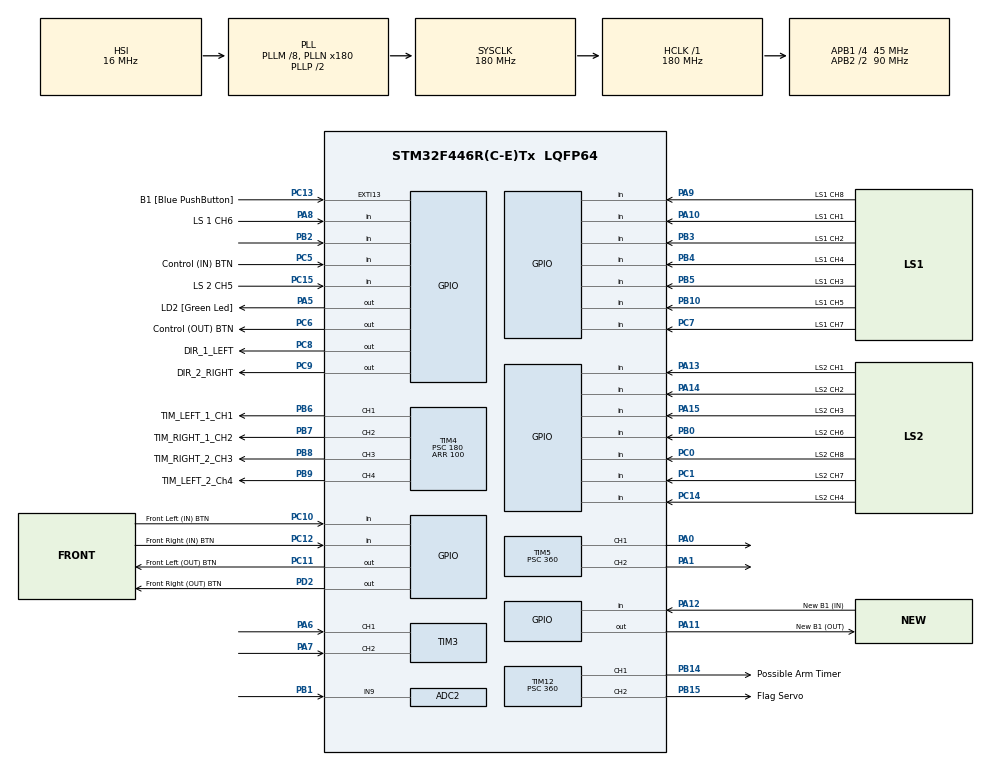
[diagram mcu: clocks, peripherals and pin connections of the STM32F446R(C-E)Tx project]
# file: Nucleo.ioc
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ADC2.Channel-12\#ChannelRegularConversion=ADC_CHANNEL_9
ADC2.NbrOfConversionFlag=1
ADC2.Rank-12\#ChannelRegularConversion=1
ADC2.SamplingTime-12\#ChannelRegularConversion=ADC_SAMPLETIME_3CYCLES
Mcu.Family=STM32F4
Mcu.Name=STM32F446R(C-E)Tx
Mcu.Package=LQFP64
NVIC.EXTI15_10_IRQn=true\:0\:0\:false\:false\:true
NVIC.PriorityGroup=NVIC_PRIORITYGROUP_0
PA0-WKUP.Signal=S_TIM5_CH1
PA1.Signal=S_TIM5_CH2
PA10.GPIO_Label=LS1 CH1
PA10.Signal=GPIO_Input
PA11.GPIO_Label=New B1 (OUT)
PA11.Signal=GPIO_Output
PA12.GPIO_Label=New B1 (IN)
PA12.GPIO_PuPd=GPIO_PULLUP
PA12.Signal=GPIO_Input
PA13.GPIO_Label=LS2 CH1
PA13.Signal=GPIO_Input
PA14.GPIO_Label=LS2 CH2
PA14.Signal=GPIO_Input
PA15.GPIO_Label=LS2 CH3
PA15.Signal=GPIO_Input
PA5.GPIO_Label=LD2 [Green Led]
PA5.Signal=GPIO_Output
PA6.Signal=S_TIM3_CH1
PA7.Signal=S_TIM3_CH2
PA8.GPIO_Label=LS 1 CH6
PA8.Signal=GPIO_Input
PA9.GPIO_Label=LS1 CH8
PA9.Signal=GPIO_Input
PB0.GPIO_Label=LS2 CH6
PB0.Signal=GPIO_Input
PB1.Signal=ADCx_IN9
PB10.GPIO_Label=LS1 CH5
PB10.Signal=GPIO_Input
PB14.GPIO_Label=Possible Arm Timer
PB14.Signal=S_TIM12_CH1
PB15.GPIO_Label=Flag Servo
PB15.Signal=S_TIM12_CH2
PB2.GPIO_PuPd=GPIO_PULLUP
PB2.Signal=GPIO_Input
PB3.GPIO_Label=LS1 CH2
PB3.Signal=GPIO_Input
PB4.GPIO_Label=LS1 CH4
PB4.Signal=GPIO_Input
PB5.GPIO_Label=LS1 CH3
PB5.Signal=GPIO_Input
PB6.GPIO_Label=TIM_LEFT_1_CH1
PB6.Signal=S_TIM4_CH1
PB7.GPIO_Label=TIM_RIGHT_1_CH2
PB7.Signal=S_TIM4_CH2
PB8.GPIO_Label=TIM_RIGHT_2_CH3
PB8.Signal=S_TIM4_CH3
PB9.GPIO_Label=TIM_LEFT_2_Ch4
PB9.Signal=S_TIM4_CH4
PC0.GPIO_Label=LS2 CH8
PC0.Signal=GPIO_Input
PC1.GPIO_Label=LS2 CH7
PC1.Signal=GPIO_Input
PC10.GPIO_Label=Front Left (IN) BTN
PC10.GPIO_PuPd=GPIO_PULLUP
PC10.Signal=GPIO_Input
PC11.GPIO_Label=Front Left (OUT) BTN
PC11.GPIO_PuPd=GPIO_NOPULL
PC11.PinState=GPIO_PIN_RESET
PC11.Signal=GPIO_Output
PC12.GPIO_Label=Front Right (IN) BTN
PC12.GPIO_PuPd=GPIO_PULLUP
PC12.Signal=GPIO_Input
PC13.GPIO_Label=B1 [Blue PushButton]
PC13.GPIO_ModeDefaultEXTI=GPIO_MODE_IT_FALLING
PC13.Signal=GPXTI13
PC14-OSC32_IN.GPIO_Label=LS2 CH4
PC14-OSC32_IN.Signal=GPIO_Input
PC15-OSC32_OUT.GPIO_Label=LS 2 CH5
PC15-OSC32_OUT.Signal=GPIO_Input
PC5.GPIO_Label=Control (IN) BTN
PC5.GPIO_PuPd=GPIO_PULLUP
PC5.Signal=GPIO_Input
PC6.GPIO_Label=Control (OUT) BTN
PC6.Signal=GPIO_Output
PC7.GPIO_Label=LS1 CH7
PC7.Signal=GPIO_Input
PC8.GPIO_Label=DIR_1_LEFT
PC8.Signal=GPIO_Output
PC9.GPIO_Label=DIR_2_RIGHT
PC9.Signal=GPIO_Output
PD2.GPIO_Label=Front Right (OUT) BTN
PD2.Signal=GPIO_Output
PH1-OSC_OUT.Mode=HSE-External-Clock-Source
PH1-OSC_OUT.Signal=RCC_OSC_OUT
ProjectManager.HeapSize=0x200
ProjectManager.StackSize=0x400
ProjectManager.TargetToolchain=SW4STM32
RCC.AHBFreq_Value=180000000
RCC.APB1CLKDivider=RCC_HCLK_DIV4
RCC.APB1Freq_Value=45000000
RCC.APB1TimFreq_Value=90000000
RCC.APB2CLKDivider=RCC_HCLK_DIV2
RCC.APB2Freq_Value=90000000
RCC.APB2TimFreq_Value=180000000
RCC.CortexFreq_Value=180000000
RCC.FLatency-AdvancedSettings=FLASH_LATENCY_5
RCC.HCLKFreq_Value=180000000
RCC.HSE_VALUE=8000000
RCC.HSI_VALUE=16000000
RCC.LSE_VALUE=32768
RCC.PLLM=8
RCC.PLLN=180
RCC.SYSCLKFreq_VALUE=180000000
RCC.SYSCLKSource=RCC_SYSCLKSOURCE_PLLCLK
RCC.USBFreq_Value=180000000
RCC.VCOOutputFreq_Value=360000000
SH.ADCx_IN9.0=ADC2_IN9,IN9
SH.S_TIM12_CH1.0=TIM12_CH1,PWM Generation1 CH1
SH.S_TIM12_CH2.0=TIM12_CH2,PWM Generation2 CH2
SH.S_TIM3_CH1.0=TIM3_CH1,Encoder_Interface
SH.S_TIM3_CH2.0=TIM3_CH2,Encoder_Interface
SH.S_TIM4_CH1.0=TIM4_CH1,PWM Generation1 CH1
SH.S_TIM4_CH2.0=TIM4_CH2,PWM Generation2 CH2
SH.S_TIM4_CH3.0=TIM4_CH3,PWM Generation3 CH3
SH.S_TIM4_CH4.0=TIM4_CH4,PWM Generation4 CH4
SH.S_TIM5_CH1.0=TIM5_CH1,PWM Generation1 CH1
SH.S_TIM5_CH2.0=TIM5_CH2,PWM Generation2 CH2
TIM12.Channel-PWM\ Generation2\ CH2=TIM_CHANNEL_2
TIM12.Period=5000
TIM12.Prescaler=360
TIM12.Pulse-PWM\ Generation1\ CH1=300
TIM4.Channel-PWM\ Generation2\ CH2=TIM_CHANNEL_2
TIM4.Channel-PWM\ Generation3\ CH3=TIM_CHANNEL_3
TIM4.Channel-PWM\ Generation4\ CH4=TIM_CHANNEL_4
TIM4.Period=100
TIM4.Prescaler=180
TIM4.Pulse-PWM\ Generation1\ CH1=50
TIM4.Pulse-PWM\ Generation2\ CH2=50
TIM4.Pulse-PWM\ Generation3\ CH3=50
TIM4.Pulse-PWM\ Generation4\ CH4=50
TIM5.Channel-PWM\ Generation2\ CH2=TIM_CHANNEL_2
TIM5.Period=5000
TIM5.Prescaler=360
TIM5.Pulse-PWM\ Generation1\ CH1=300
TIM5.Pulse-PWM\ Generation2\ CH2=300
board=NUCLEO-F446RE

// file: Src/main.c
/**
  ******************************************************************************
  * File Name          : main.c
  * Description        : Main program body
  ******************************************************************************
  *
  * COPYRIGHT(c) 2017 STMicroelectronics
  *
  * Redistribution and use in source and binary forms, with or without modification,
  * are permitted provided that the following conditions are met:
  *   1. Redistributions of source code must retain the above copyright notice,
  *      this list of conditions and the following disclaimer.
  *   2. Redistributions in binary form must reproduce the above copyright notice,
  *      this list of conditions and the following disclaimer in the documentation
  *      and/or other materials provided with the distribution.
  *   3. Neither the name of STMicroelectronics nor the names of its contributors
  *      may be used to endorse or promote products derived from this software
  *      without specific prior written permission.
  *
  * THIS SOFTWARE IS PROVIDED BY THE COPYRIGHT HOLDERS AND CONTRIBUTORS "AS IS"
  * AND ANY EXPRESS OR IMPLIED WARRANTIES, INCLUDING, BUT NOT LIMITED TO, THE
  * IMPLIED WARRANTIES OF MERCHANTABILITY AND FITNESS FOR A PARTICULAR PURPOSE ARE
  * DISCLAIMED. IN NO EVENT SHALL THE COPYRIGHT HOLDER OR CONTRIBUTORS BE LIABLE
  * FOR ANY DIRECT, INDIRECT, INCIDENTAL, SPECIAL, EXEMPLARY, OR CONSEQUENTIAL
  * DAMAGES (INCLUDING, BUT NOT LIMITED TO, PROCUREMENT OF SUBSTITUTE GOODS OR
  * SERVICES; LOSS OF USE, DATA, OR PROFITS; OR BUSINESS INTERRUPTION) HOWEVER
  * CAUSED AND ON ANY THEORY OF LIABILITY, WHETHER IN CONTRACT, STRICT LIABILITY,
  * OR TORT (INCLUDING NEGLIGENCE OR OTHERWISE) ARISING IN ANY WAY OUT OF THE USE
  * OF THIS SOFTWARE, EVEN IF ADVISED OF THE POSSIBILITY OF SUCH DAMAGE.
  *
  ******************************************************************************
  */
#include "main.h"
#include "stm32f4xx_hal.h"

/* USER CODE BEGIN Includes */
#include "functions.h"
#include "config.h"
#include <stdlib.h>
typedef int lineState;
enum lineState { hardL, shallowL, cont, shallowR, hardR };

typedef int strategy;
enum strategy { default_strategy, bump_strategy, test1, test2, test3, test4, bump, forwards, backwards, test5, emergency};

/* USER CODE END Includes */

ADC_HandleTypeDef hadc2;

TIM_HandleTypeDef htim3;
TIM_HandleTypeDef htim4;
TIM_HandleTypeDef htim5;
TIM_HandleTypeDef htim12;

/* USER CODE BEGIN PV */
/* Private variables ---------------------------------------------------------*/
uint16_t oldDutyCycle;
uint16_t newDutyCycle;
volatile TIM_HandleTypeDef * motorTimer = &htim4;
volatile TIM_HandleTypeDef * servoTimer = &htim5;
volatile TIM_HandleTypeDef * servoTimer2 = &htim12;
uint16_t LINE_SENSE_F = 1;
lineState lState = cont;
uint8_t servoAngle = 0;
uint8_t servoLeftAngle = 0;
uint8_t servoRightAngle = 0;
uint8_t testServoAngle= 0;

uint8_t DEBUG_MODE = 1;
uint8_t STRATEGY = emergency;
//uint8_t STRATEGY = test5;
uint16_t increment = 0;
uint16_t timer = 0;
uint16_t timer2 = 0;
int lBias = -15;
int rBias = -15;
int roundCount = 0;

/* USER CODE END PV */

void SystemClock_Config(void);
void Error_Handler(void);
static void MX_GPIO_Init(void);
static void MX_TIM4_Init(void);
static void MX_TIM5_Init(void);
static void MX_ADC2_Init(void);
static void MX_TIM3_Init(void);
static void MX_TIM12_Init(void);

void HAL_TIM_MspPostInit(TIM_HandleTypeDef *htim);

/* USER CODE BEGIN PFP */
/* Private function prototypes -----------------------------------------------*/

/* USER CODE END PFP */

/* USER CODE BEGIN 0 */
//MX_ADC_1_Init();

/* USER CODE END 0 */

int main(void)
{

  /* MCU Configuration----------------------------------------------------------*/

  /* Reset of all peripherals, Initializes the Flash interface and the Systick. */
  HAL_Init();

  /* Configure the system clock */
  SystemClock_Config();

  /* Initialize all configured peripherals */
  MX_GPIO_Init();
  MX_TIM4_Init();
  MX_TIM5_Init();
  MX_ADC2_Init();
  MX_TIM3_Init();
  MX_TIM12_Init();

  /* USER CODE BEGIN 2 */
  struct lineData *lineData = checked_malloc(sizeof(struct lineData));
  initLineSensor(lineData, LS1, LS1NUM,
                           LS2, LS2NUM,
                           LS3, LS3NUM,
                           LS4, LS4NUM,
                           LS5, LS5NUM,
                           LS6, LS6NUM,
                           LS7, LS7NUM,
                           LS8, LS8NUM);
  struct lineData *lineData_2 = checked_malloc(sizeof(struct lineData));
  initLineSensor(lineData_2, LS1_2, LS1NUM_2,
                             LS2_2, LS2NUM_2,
                             LS3_2, LS3NUM_2,
                             LS4_2, LS4NUM_2,
                             LS5_2, LS5NUM_2,
                             LS6_2, LS6NUM_2,
                             LS7_2, LS7NUM_2,
                             LS8_2, LS8NUM_2);

  // Start Timers after initialization
  HAL_TIM_PWM_Start(&htim4, TIM_CHANNEL_1);
  HAL_TIM_PWM_Start(&htim4, TIM_CHANNEL_2);
  HAL_TIM_PWM_Start(&htim4, TIM_CHANNEL_3);
  HAL_TIM_PWM_Start(&htim4, TIM_CHANNEL_4);

  HAL_TIM_PWM_Start(&htim5, TIM_CHANNEL_1);
  HAL_TIM_PWM_Start(&htim5, TIM_CHANNEL_2);
  HAL_TIM_PWM_Start(&htim5, TIM_CHANNEL_3);

  HAL_TIM_PWM_Start(&htim12, TIM_CHANNEL_1);
  HAL_TIM_PWM_Start(&htim12, TIM_CHANNEL_2);
  passiveTimer();

  int INIT_STATE = 99;

  /* USER CODE END 2 */

  /* Infinite loop */
  while (1)
  {

  /* USER CODE BEGIN 3 */
  /*
  HAL_GPIO_WritePin(GPIOC, GPIO_PIN_6, GPIO_PIN_RESET); // LED On
  HAL_Delay(50);
  if (HAL_GPIO_ReadPin(GPIOC, GPIO_PIN_5) == GPIO_PIN_RESET) {
      //drive(50, 50);
      STRATEGY = forwards;
  }
  else {
      STRATEGY = backwards;
      //drive(-25, -25);
  }
  */
  while (STRATEGY == 1) {
      passiveTimer();
      int lBias = -15;
      int rBias = -15;
      drive(0, 0);
      //while (INIT_STATE == 99) {
        if (HAL_GPIO_ReadPin(GPIOC, GPIO_PIN_13)) {
            INIT_STATE = -1;
            HAL_GPIO_WritePin(GPIOA, GPIO_PIN_5, GPIO_PIN_SET); // LED Off
            drive(0,0);
            //turnServo(0);
            continue;
          }

      //}
      // Begin Driving Forward when button is pressed
      while (INIT_STATE == -1) {
          updateLineData(lineData);
          forwardLineFollowing(lineData, &lBias, &rBias);
          if (lineOnCount(lineData) > 6) {
              INIT_STATE = 0;
              drive(0, 0);
              break;
          }
      }
      while (INIT_STATE == 0) {
          //updateLineData(lineData);
          //forwardLineFollowingPrecise(lineData, &lBias, &rBias);
          //forwardLineFollowing(lineData, &lBias, &rBias);
          drive(20, 20);
          HAL_GPIO_WritePin(GPIOD, GPIO_PIN_2, GPIO_PIN_RESET); // LED On
          HAL_GPIO_WritePin(GPIOC, GPIO_PIN_11, GPIO_PIN_RESET); // LED On
          if (HAL_GPIO_ReadPin(GPIOC, GPIO_PIN_12) == GPIO_PIN_RESET || HAL_GPIO_ReadPin(GPIOC, GPIO_PIN_10) == GPIO_PIN_RESET) {
              HAL_GPIO_WritePin(GPIOA, GPIO_PIN_5, GPIO_PIN_SET); // LED On
              INIT_STATE = 1;
              drive(0, 0);
              break;
          }
          else {
              HAL_GPIO_WritePin(GPIOA, GPIO_PIN_5, GPIO_PIN_RESET); // LED Off
          }

      }
      // Turn servo arms to secure rings
      while (INIT_STATE == 1) {
          HAL_Delay(1500);
          //loadServo();
          INIT_STATE = 2;
          //turnServo(0);
          break;
      }

      // Drive back to first line
      while (INIT_STATE == 2) {
          drive(-20, -20);
          updateLineData(lineData);
          //turnServo(0);
          if (lineOnCount(lineData) > 6) {
              INIT_STATE = 3;
              drive(0, 0);
              break;
          }
      }
      // Drive back, handle a normal line
      while (INIT_STATE == 3) {
          drive(-20, -20);
          updateLineData(lineData);
          //turnServo(0);
          if (lineOnCount(lineData) < 3) {
              INIT_STATE = 4;
              drive(0, 0);
              break;
          }
      }
      // Drive back to second line
      while (INIT_STATE == 4) {
          drive(-20, -20);
          updateLineData(lineData);
          //turnServo(0);
          if (lineOnCount(lineData) > 6) {
              INIT_STATE = 5;
              drive(0, 0);
              break;
          }
      }
      // Drive forward slightly to prepare to turn
      while (INIT_STATE == 5) {
          timer++;
          drive(20, 20);
          //turnServo(0);
          if (timer > 6500) {
              timer = 0;
              timer2++;
          }
          if (timer2 > 175) { // 125 275
              timer = 0;
              timer2 = 0;
              INIT_STATE = 6;
              drive(0, 0);
          }
      }
      // Begin turning until line sensor is pretty of a line
      while (INIT_STATE == 6) {
          drive(-20, 20);
          //turnServo(0);
          updateLineData(lineData);
          if (lineOnCount(lineData) <= 1) {
              INIT_STATE = 7;
              drive(0, 0);
              break;
          }
      }
      // Continue turning until line sensor is back on the line
      while (INIT_STATE == 7) {
          drive(-20, 20);
          updateLineData(lineData);
          //turnServo(0);
          if (lineData->status[2] == true && lineData->status[3] == true) {
          //if (lineData->status[2] == true && lineData->status[3] == true) {
              INIT_STATE = 8;
              drive(0, 0);
              break;
          }
      }
      // Drive forward toward scoring peg fast until we hit the first black line
      while (INIT_STATE == 8) {
          updateLineData(lineData);
          forwardLineFollowing(lineData, &lBias, &rBias);
          //turnServo(0);
          if (lineOnCount(lineData) > 6) {
              INIT_STATE = 9;
          }
      }
      // Continue slowly until front of the robot touches the wall
      while (INIT_STATE == 9) {
          updateLineData(lineData);
          //turnServo(0);
          //forwardLineWobble(lineData, &lBias, &rBias);
          //forwardLineFollowing(lineData, &lBias, &rBias);
          drive(15, 15);
          //drive(20, 20);
          HAL_GPIO_WritePin(GPIOD, GPIO_PIN_2, GPIO_PIN_RESET); // LED On
          HAL_GPIO_WritePin(GPIOC, GPIO_PIN_11, GPIO_PIN_RESET); // LED On
          if (HAL_GPIO_ReadPin(GPIOC, GPIO_PIN_12) == GPIO_PIN_RESET || HAL_GPIO_ReadPin(GPIOC, GPIO_PIN_10) == GPIO_PIN_RESET) {
              HAL_GPIO_WritePin(GPIOA, GPIO_PIN_5, GPIO_PIN_SET); // LED On
              INIT_STATE = 10;
              drive(0, 0);
              HAL_Delay(50);
          }
          else {
              HAL_GPIO_WritePin(GPIOA, GPIO_PIN_5, GPIO_PIN_RESET); // LED Off
          }
      }
      // Turn tower servo to lift and release rings onto the peg
      while (INIT_STATE == 10) {
          HAL_Delay(3000);
          INIT_STATE = 11;
      }
      // Drive back until the first black line is reached
      while (INIT_STATE == 11) {
          backwardLineFollowing(lineData, &lBias, &rBias);
          updateLineData(lineData);
          if (lineOnCount(lineData) > 6) {
              INIT_STATE = 12;
              drive(0, 0);
              break;
          }
      }
      // Drive back, handle getting back on a line
      while (INIT_STATE == 12) {
          backwardLineFollowing(lineData, &lBias, &rBias);
          updateLineData(lineData);
          if (lineOnCount(lineData) < 3) {
              INIT_STATE = 13;
              drive(0, 0);
              break;
          }
      }
      // Drive back until we see another black line
      while (INIT_STATE == 13) {
          //drive(-100, -100);
          backwardLineFollowing(lineData, &lBias, &rBias);
          updateLineData(lineData);
          //turnServo(0);
          if (lineOnCount(lineData) > 6) {
              INIT_STATE = 14;
              drive(0, 0);
              break;
          }
      }
      // Drive forward slightly to prepare for a turn
      while (INIT_STATE == 14) {
          timer++;
          drive(40, 40);
          //turnServo(0);
          if (timer > 6500) {
              timer = 0;
              timer2++;
          }
          if (timer2 > 50) { // 125 275
              timer = 0;
              timer2 = 0;
              INIT_STATE = 15;
              drive(0, 0);
          }
      }
      // Turn right until off the line
      while (INIT_STATE == 15) {
          drive(40, -40);
          //turnServo(0);
          updateLineData(lineData);
          if (lineOnCount(lineData) == 0) {
              INIT_STATE = 16;
              drive(0, 0);
              break;
          }
      }
      // Turn right until back on the line
      while (INIT_STATE == 16) {
          drive(40, -40);
          updateLineData(lineData);
          if (lineData->status[5] == true && lineData->status[6] == true) {
              INIT_STATE = 0;
              drive(0, 0);
              break;
          }
      }

  }
  while (STRATEGY == 2) {
      if (HAL_GPIO_ReadPin(GPIOC, GPIO_PIN_13)) {
          INIT_STATE = 0;
          HAL_GPIO_WritePin(GPIOA, GPIO_PIN_5, GPIO_PIN_SET); // LED Off
          drive(0,0);
          continue;
      }
      while (INIT_STATE == 0) {
          updateLineData(lineData);
          forwardLineFollowing2(lineData, &lBias, &rBias);
          if (lineOnCount(lineData) > 6) {
              INIT_STATE = 1;
              drive(0, 0);
              HAL_Delay(500);
          }
      }
      while (INIT_STATE == 1) {
          updateLineData(lineData);
          forwardLineWobble(lineData, &lBias, &rBias);
          forwardLineFollowing(lineData, &lBias, &rBias);
          HAL_GPIO_WritePin(GPIOD, GPIO_PIN_2, GPIO_PIN_RESET); // LED On
          HAL_GPIO_WritePin(GPIOC, GPIO_PIN_11, GPIO_PIN_RESET); // LED On
          if (HAL_GPIO_ReadPin(GPIOC, GPIO_PIN_12) == GPIO_PIN_RESET && HAL_GPIO_ReadPin(GPIOC, GPIO_PIN_10) == GPIO_PIN_RESET) {
              HAL_GPIO_WritePin(GPIOA, GPIO_PIN_5, GPIO_PIN_SET); // LED On
              INIT_STATE = 2;
              drive(0, 0);
              HAL_Delay(100);
              break;
          }
          else {
              HAL_GPIO_WritePin(GPIOA, GPIO_PIN_5, GPIO_PIN_RESET); // LED Off
          }
      }
      while (INIT_STATE == 2) {
          offloadServo();
          //HAL_GPIO_WritePin(GPIOA, GPIO_PIN_5, GPIO_PIN_SET); // LED On
          drive(0, 0);
          HAL_GPIO_WritePin(GPIOD, GPIO_PIN_2, GPIO_PIN_RESET); // LED On
          HAL_GPIO_WritePin(GPIOC, GPIO_PIN_11, GPIO_PIN_RESET); // LED On
          if (HAL_GPIO_ReadPin(GPIOC, GPIO_PIN_12) == GPIO_PIN_RESET || HAL_GPIO_ReadPin(GPIOC, GPIO_PIN_10) == GPIO_PIN_RESET) {
              HAL_GPIO_WritePin(GPIOA, GPIO_PIN_5, GPIO_PIN_SET); // LED On
          }
          else {
              HAL_GPIO_WritePin(GPIOA, GPIO_PIN_5, GPIO_PIN_RESET); // LED Off
          }
          HAL_Delay(50);
      }
  }
  while (STRATEGY == forwards) {
      turnServo(10);
      turnLeftServo(75); // Unlocked
      turnRightServo(75); // Unlocked
      if (HAL_GPIO_ReadPin(GPIOC, GPIO_PIN_13)) {
          INIT_STATE = 0;
          HAL_GPIO_WritePin(GPIOA, GPIO_PIN_5, GPIO_PIN_SET); // LED Off
          drive(0,0);
          continue;
      }
      while (INIT_STATE == 0) {
          secureRings();
          backToCenter(lineData_2, &lBias, &rBias);
          //backToCenter(lineData, &lBias, &rBias);
          //drivePastLine(lineData, &lBias, &rBias);
          navigateLeftTurn(lineData, &lBias, &rBias);
          driveToDump(lineData, &lBias, &rBias);
          dumpRings();
          //backToCenter(lineData, &lBias, &rBias);
          backToCenter(lineData_2, &lBias, &rBias);
          //drivePastLine(lineData, &lBias, &rBias);
          navigateRightTurn(lineData, &lBias, &rBias);
          driveToLine(lineData, &lBias, &rBias);
          exit(0);
      }
  }
  while (STRATEGY == backwards) {
      /*
      turnServo(10);
      turnLeftServo(75); // Unlocked
      turnRightServo(75); // Unlocked
      */
      // Open Arms
      turnServo(0);
      turnLeftServo(159);
      turnRightServo(15);
      if (HAL_GPIO_ReadPin(GPIOC, GPIO_PIN_13)) {
          INIT_STATE = 0;
          HAL_GPIO_WritePin(GPIOA, GPIO_PIN_5, GPIO_PIN_SET); // LED Off
          drive(0,0);
          continue;
      }
      while (INIT_STATE == 0) {
          //collectRings();
          driveBackToDump(lineData, &lBias, &rBias);
          secureRings();
          forwardToCenter(lineData, &lBias, &rBias);
          navigateLeftTurn(lineData_2, &lBias, &rBias);
          driveBackToDump(lineData_2, &lBias, &rBias);
          dumpRings();
          forwardToCenter(lineData, &lBias, &rBias);
          navigateRightTurn(lineData, &lBias, &rBias);
          driveBackToDump(lineData, &lBias, &rBias);
          exit(0);
      }
}
while (STRATEGY == bump) {
    if (HAL_GPIO_ReadPin(GPIOC, GPIO_PIN_13)) {
        INIT_STATE = 0;
        HAL_GPIO_WritePin(GPIOA, GPIO_PIN_5, GPIO_PIN_SET); // LED Off
        drive(0,0);
        continue;
    }
    while (INIT_STATE == 0) {
        collectRings();
        driveBackToDump(lineData, &lBias, &rBias);
        secureRings();
        forwardToCenter(lineData, &lBias, &rBias);
        navigateRightTurn(lineData_2, &lBias, &rBias);
        /*
        driveBackToDump(lineData_2, &lBias, &rBias);
        dumpRings();
        forwardToCenter(lineData, &lBias, &rBias);
        navigateRightTurn(lineData, &lBias, &rBias);
        driveBackToDump(lineData, &lBias, &rBias);
        */
        exit(0);
    }
  }
  while (STRATEGY ==  test5) {
      drive(0, 0);
      turnServo(0);
      turnLeftServo(159);
      turnRightServo(15);
      turnArmServo(130);
      HAL_Delay(250);

      // turnArmServo 130 to flip the flag
      // 0 to reset

      while (1) {
          if (HAL_GPIO_ReadPin(GPIOC, GPIO_PIN_13)) {
              INIT_STATE = 0;
              HAL_GPIO_WritePin(GPIOA, GPIO_PIN_5, GPIO_PIN_SET); // LED Off
              drive(0,0);
              continue;
          }
          while (INIT_STATE == 0) {
              drive(0, 0);
              turnArmServo(0);
          }

          // Close Arms
          //updateLineData(lineData);
          //lineFollowingPreciseSpeed(lineData, &lBias, &rBias, -1, 20);
          /*
          drive(0, 0);
          turnLeftServo(174); // Locked
          turnRightServo(5); // Locked
          */
          // Open Arms
          /*
          turnLeftServo(159);
          turnRightServo(15);
          */
      }
  }
  while (STRATEGY == emergency) {
      drive(0, 0);
      turnServo(0);
      turnLeftServo(159);
      turnRightServo(15);
      turnArmServo(130);
      HAL_Delay(250);

      if (HAL_GPIO_ReadPin(GPIOC, GPIO_PIN_13)) {
          INIT_STATE = 0;
          HAL_GPIO_WritePin(GPIOA, GPIO_PIN_5, GPIO_PIN_SET); // LED Off
          drive(0,0);
          continue;
      }
      while (INIT_STATE == 0) {
          turnArmServo(0);
          /*
          turnLeftServo(159);
          turnRightServo(15);
          */
          turnLeftServo(154);
          turnRightServo(20);
          turnServo(0);
          drive(0, 0);
          driveBackToDump(lineData_2, &lBias, &rBias);
          secureRings(); // Decreased HAL Delay from 1000 to 500
          if (roundCount == 0) {
              forwardToCenter(lineData, &lBias, &rBias);
              bruteForceForwardShort(lineData, &lBias, &rBias);
              bruteForceTurnLeft90(lineData, &lBias, &rBias);
              //navigateLeftTurn(lineData_2, &lBias, &rBias);
          }
          else {
              forwardToCenter(lineData, &lBias, &rBias);
              forwardToFlag(lineData, &lBias, &rBias); // Increased speed from 25 to 40
              driveBackToFullLine(lineData_2, &lBias, &rBias); // Increased speed from 30 to 40
              bruteForceMovePastLineBackwards(lineData, &lBias, &rBias);
              //navigateLeftTurn(lineData, &lBias, &rBias); // Took this out
              bruteForceTurnLeft90Longer(lineData, &lBias, &rBias);
//void bruteForceTurnLeft90Longer(struct lineData *lineData, int *lBias, int *rBias);
              //navigateLeftTurn(lineData_2, &lBias, &rBias);
          }
          driveBackToFullLine(lineData_2, &lBias, &rBias);
          //lineFollowingPreciseSpeed(lineData, &lBias, &rBias, 1, 25);
          bruteForceForward(lineData, &lBias, &rBias); // Changing from 300 to 275
          bruteForceTurn(lineData, &lBias, &rBias);
          bruteForceBackward(lineData, &lBias, &rBias);
          dumpRings();
          findALineForward(lineData, &lBias, &rBias);
          forwardToCenter(lineData, &lBias, &rBias);
          //bruteForceMovePastLine(lineData, &lBias, &rBias);
          bruteForceTurnRight90(lineData_2, &lBias, &rBias); // Changed this to 175 from 425
          navigateRightTurn(lineData_2, &lBias, &rBias); // Added this
          HAL_Delay(100);
          roundCount++;
          continue;
          //secureRings();
          exit(0);
      }

      /*
      driveBackToDump(lineData_2, &lBias, &rBias);
      secureRings();
      forwardToCenter(lineData, &lBias, &rBias);
      navigateLeftTurn(lineData_2, &lBias, &rBias);
      driveBackToFullLine(lineData_2, &lBias, &rBias);
      bruteForceForward(lineData, &lBias, &rBias);
      bruteForceTurn(lineData, &lBias, &rBias);
      bruteForceBackward(lineData, &lBias, &rBias);
      dumpRings();
      findALineForward(lineData, &lBias, &rBias);
      forwardToCenter(lineData, &lBias, &rBias);
      navigateRightTurn(lineData, &lBias, &rBias);
      */
      //driveBackToDump(lineData_2, &lBias, &rBias);
      /*
      secureRings();
      bruteForceForward(lineData, &lBias, &rBias);
      bruteForceTurn(lineData, &lBias, &rBias);
      bruteForceBackward(lineData, &lBias, &rBias);
      */
      //drive(0, 0);
      exit(0);
  }

  }
  return 0;
  /* USER CODE END 3 */

}

/** System Clock Configuration
*/
void SystemClock_Config(void)
{

  RCC_OscInitTypeDef RCC_OscInitStruct;
  RCC_ClkInitTypeDef RCC_ClkInitStruct;

    /**Configure the main internal regulator output voltage
    */
  __HAL_RCC_PWR_CLK_ENABLE();

  __HAL_PWR_VOLTAGESCALING_CONFIG(PWR_REGULATOR_VOLTAGE_SCALE1);

    /**Initializes the CPU, AHB and APB busses clocks
    */
  RCC_OscInitStruct.OscillatorType = RCC_OSCILLATORTYPE_HSI;
  RCC_OscInitStruct.HSIState = RCC_HSI_ON;
  RCC_OscInitStruct.HSICalibrationValue = 16;
  RCC_OscInitStruct.PLL.PLLState = RCC_PLL_ON;
  RCC_OscInitStruct.PLL.PLLSource = RCC_PLLSOURCE_HSI;
  RCC_OscInitStruct.PLL.PLLM = 8;
  RCC_OscInitStruct.PLL.PLLN = 180;
  RCC_OscInitStruct.PLL.PLLP = RCC_PLLP_DIV2;
  RCC_OscInitStruct.PLL.PLLQ = 2;
  RCC_OscInitStruct.PLL.PLLR = 2;
  if (HAL_RCC_OscConfig(&RCC_OscInitStruct) != HAL_OK)
  {
    Error_Handler();
  }

    /**Activate the Over-Drive mode
    */
  if (HAL_PWREx_EnableOverDrive() != HAL_OK)
  {
    Error_Handler();
  }

    /**Initializes the CPU, AHB and APB busses clocks
    */
  RCC_ClkInitStruct.ClockType = RCC_CLOCKTYPE_HCLK|RCC_CLOCKTYPE_SYSCLK
                              |RCC_CLOCKTYPE_PCLK1|RCC_CLOCKTYPE_PCLK2;
  RCC_ClkInitStruct.SYSCLKSource = RCC_SYSCLKSOURCE_PLLCLK;
  RCC_ClkInitStruct.AHBCLKDivider = RCC_SYSCLK_DIV1;
  RCC_ClkInitStruct.APB1CLKDivider = RCC_HCLK_DIV4;
  RCC_ClkInitStruct.APB2CLKDivider = RCC_HCLK_DIV2;

  if (HAL_RCC_ClockConfig(&RCC_ClkInitStruct, FLASH_LATENCY_5) != HAL_OK)
  {
    Error_Handler();
  }

    /**Configure the Systick interrupt time
    */
  HAL_SYSTICK_Config(HAL_RCC_GetHCLKFreq()/1000);

    /**Configure the Systick
    */
  HAL_SYSTICK_CLKSourceConfig(SYSTICK_CLKSOURCE_HCLK);

  /* SysTick_IRQn interrupt configuration */
  HAL_NVIC_SetPriority(SysTick_IRQn, 0, 0);
}

/* ADC2 init function */
static void MX_ADC2_Init(void)
{

  ADC_ChannelConfTypeDef sConfig;

    /**Configure the global features of the ADC (Clock, Resolution, Data Alignment and number of conversion)
    */
  hadc2.Instance = ADC2;
  hadc2.Init.ClockPrescaler = ADC_CLOCK_SYNC_PCLK_DIV4;
  hadc2.Init.Resolution = ADC_RESOLUTION_12B;
  hadc2.Init.ScanConvMode = DISABLE;
  hadc2.Init.ContinuousConvMode = DISABLE;
  hadc2.Init.DiscontinuousConvMode = DISABLE;
  hadc2.Init.ExternalTrigConvEdge = ADC_EXTERNALTRIGCONVEDGE_NONE;
  hadc2.Init.ExternalTrigConv = ADC_SOFTWARE_START;
  hadc2.Init.DataAlign = ADC_DATAALIGN_RIGHT;
  hadc2.Init.NbrOfConversion = 1;
  hadc2.Init.DMAContinuousRequests = DISABLE;
  hadc2.Init.EOCSelection = ADC_EOC_SINGLE_CONV;
  if (HAL_ADC_Init(&hadc2) != HAL_OK)
  {
    Error_Handler();
  }

    /**Configure for the selected ADC regular channel its corresponding rank in the sequencer and its sample time.
    */
  sConfig.Channel = ADC_CHANNEL_9;
  sConfig.Rank = 1;
  sConfig.SamplingTime = ADC_SAMPLETIME_3CYCLES;
  if (HAL_ADC_ConfigChannel(&hadc2, &sConfig) != HAL_OK)
  {
    Error_Handler();
  }

}

/* TIM3 init function */
static void MX_TIM3_Init(void)
{

  TIM_Encoder_InitTypeDef sConfig;
  TIM_MasterConfigTypeDef sMasterConfig;

  htim3.Instance = TIM3;
  htim3.Init.Prescaler = 0;
  htim3.Init.CounterMode = TIM_COUNTERMODE_UP;
  htim3.Init.Period = 0;
  htim3.Init.ClockDivision = TIM_CLOCKDIVISION_DIV1;
  sConfig.EncoderMode = TIM_ENCODERMODE_TI1;
  sConfig.IC1Polarity = TIM_ICPOLARITY_RISING;
  sConfig.IC1Selection = TIM_ICSELECTION_DIRECTTI;
  sConfig.IC1Prescaler = TIM_ICPSC_DIV1;
  sConfig.IC1Filter = 0;
  sConfig.IC2Polarity = TIM_ICPOLARITY_RISING;
  sConfig.IC2Selection = TIM_ICSELECTION_DIRECTTI;
  sConfig.IC2Prescaler = TIM_ICPSC_DIV1;
  sConfig.IC2Filter = 0;
  if (HAL_TIM_Encoder_Init(&htim3, &sConfig) != HAL_OK)
  {
    Error_Handler();
  }

  sMasterConfig.MasterOutputTrigger = TIM_TRGO_RESET;
  sMasterConfig.MasterSlaveMode = TIM_MASTERSLAVEMODE_DISABLE;
  if (HAL_TIMEx_MasterConfigSynchronization(&htim3, &sMasterConfig) != HAL_OK)
  {
    Error_Handler();
  }

}

/* TIM4 init function */
static void MX_TIM4_Init(void)
{

  TIM_MasterConfigTypeDef sMasterConfig;
  TIM_OC_InitTypeDef sConfigOC;

  htim4.Instance = TIM4;
  htim4.Init.Prescaler = 180;
  htim4.Init.CounterMode = TIM_COUNTERMODE_UP;
  htim4.Init.Period = 100;
  htim4.Init.ClockDivision = TIM_CLOCKDIVISION_DIV1;
  if (HAL_TIM_PWM_Init(&htim4) != HAL_OK)
  {
    Error_Handler();
  }

  sMasterConfig.MasterOutputTrigger = TIM_TRGO_RESET;
  sMasterConfig.MasterSlaveMode = TIM_MASTERSLAVEMODE_DISABLE;
  if (HAL_TIMEx_MasterConfigSynchronization(&htim4, &sMasterConfig) != HAL_OK)
  {
    Error_Handler();
  }

  sConfigOC.OCMode = TIM_OCMODE_PWM1;
  sConfigOC.Pulse = 50;
  sConfigOC.OCPolarity = TIM_OCPOLARITY_HIGH;
  sConfigOC.OCFastMode = TIM_OCFAST_DISABLE;
  if (HAL_TIM_PWM_ConfigChannel(&htim4, &sConfigOC, TIM_CHANNEL_1) != HAL_OK)
  {
    Error_Handler();
  }

  if (HAL_TIM_PWM_ConfigChannel(&htim4, &sConfigOC, TIM_CHANNEL_2) != HAL_OK)
  {
    Error_Handler();
  }

  if (HAL_TIM_PWM_ConfigChannel(&htim4, &sConfigOC, TIM_CHANNEL_3) != HAL_OK)
  {
    Error_Handler();
  }

  if (HAL_TIM_PWM_ConfigChannel(&htim4, &sConfigOC, TIM_CHANNEL_4) != HAL_OK)
  {
    Error_Handler();
  }

  HAL_TIM_MspPostInit(&htim4);

}

/* TIM5 init function */
static void MX_TIM5_Init(void)
{

  TIM_MasterConfigTypeDef sMasterConfig;
  TIM_OC_InitTypeDef sConfigOC;

  htim5.Instance = TIM5;
  htim5.Init.Prescaler = 360;
  htim5.Init.CounterMode = TIM_COUNTERMODE_UP;
  htim5.Init.Period = 5000;
  htim5.Init.ClockDivision = TIM_CLOCKDIVISION_DIV1;
  if (HAL_TIM_PWM_Init(&htim5) != HAL_OK)
  {
    Error_Handler();
  }

  sMasterConfig.MasterOutputTrigger = TIM_TRGO_RESET;
  sMasterConfig.MasterSlaveMode = TIM_MASTERSLAVEMODE_DISABLE;
  if (HAL_TIMEx_MasterConfigSynchronization(&htim5, &sMasterConfig) != HAL_OK)
  {
    Error_Handler();
  }

  sConfigOC.OCMode = TIM_OCMODE_PWM1;
  sConfigOC.Pulse = 300;
  sConfigOC.OCPolarity = TIM_OCPOLARITY_HIGH;
  sConfigOC.OCFastMode = TIM_OCFAST_DISABLE;
  if (HAL_TIM_PWM_ConfigChannel(&htim5, &sConfigOC, TIM_CHANNEL_1) != HAL_OK)
  {
    Error_Handler();
  }

  if (HAL_TIM_PWM_ConfigChannel(&htim5, &sConfigOC, TIM_CHANNEL_2) != HAL_OK)
  {
    Error_Handler();
  }

  HAL_TIM_MspPostInit(&htim5);

}

/* TIM12 init function */
static void MX_TIM12_Init(void)
{

  TIM_OC_InitTypeDef sConfigOC;

  htim12.Instance = TIM12;
  htim12.Init.Prescaler = 360;
  htim12.Init.CounterMode = TIM_COUNTERMODE_UP;
  htim12.Init.Period = 5000;
  htim12.Init.ClockDivision = TIM_CLOCKDIVISION_DIV1;
  if (HAL_TIM_PWM_Init(&htim12) != HAL_OK)
  {
    Error_Handler();
  }

  sConfigOC.OCMode = TIM_OCMODE_PWM1;
  sConfigOC.Pulse = 300;
  sConfigOC.OCPolarity = TIM_OCPOLARITY_HIGH;
  sConfigOC.OCFastMode = TIM_OCFAST_DISABLE;
  if (HAL_TIM_PWM_ConfigChannel(&htim12, &sConfigOC, TIM_CHANNEL_1) != HAL_OK)
  {
    Error_Handler();
  }

  sConfigOC.Pulse = 0;
  if (HAL_TIM_PWM_ConfigChannel(&htim12, &sConfigOC, TIM_CHANNEL_2) != HAL_OK)
  {
    Error_Handler();
  }

  HAL_TIM_MspPostInit(&htim12);

}

/** Configure pins as
        * Analog
        * Input
        * Output
        * EVENT_OUT
        * EXTI
*/
static void MX_GPIO_Init(void)
{

  GPIO_InitTypeDef GPIO_InitStruct;

  /* GPIO Ports Clock Enable */
  __HAL_RCC_GPIOC_CLK_ENABLE();
  __HAL_RCC_GPIOH_CLK_ENABLE();
  __HAL_RCC_GPIOA_CLK_ENABLE();
  __HAL_RCC_GPIOB_CLK_ENABLE();
  __HAL_RCC_GPIOD_CLK_ENABLE();

  /*Configure GPIO pin Output Level */
  HAL_GPIO_WritePin(GPIOA, LD2_Pin|New_B1_Pin, GPIO_PIN_RESET);

  /*Configure GPIO pin Output Level */
  HAL_GPIO_WritePin(GPIOC, Control_BTNC6_Pin|DIR_1_LEFT_Pin|DIR_2_RIGHT_Pin|Front_Left_BTNC11_Pin, GPIO_PIN_RESET);

  /*Configure GPIO pin Output Level */
  HAL_GPIO_WritePin(Front_Right_BTND2_GPIO_Port, Front_Right_BTND2_Pin, GPIO_PIN_RESET);

  /*Configure GPIO pin : B1_Pin */
  GPIO_InitStruct.Pin = B1_Pin;
  GPIO_InitStruct.Mode = GPIO_MODE_IT_FALLING;
  GPIO_InitStruct.Pull = GPIO_NOPULL;
  HAL_GPIO_Init(B1_GPIO_Port, &GPIO_InitStruct);

  /*Configure GPIO pins : LS2_CH4_Pin LS_2_CH5_Pin LS2_CH8_Pin LS2_CH7_Pin
                           LS1_CH7_Pin */
  GPIO_InitStruct.Pin = LS2_CH4_Pin|LS_2_CH5_Pin|LS2_CH8_Pin|LS2_CH7_Pin
                          |LS1_CH7_Pin;
  GPIO_InitStruct.Mode = GPIO_MODE_INPUT;
  GPIO_InitStruct.Pull = GPIO_NOPULL;
  HAL_GPIO_Init(GPIOC, &GPIO_InitStruct);

  /*Configure GPIO pins : LD2_Pin New_B1_Pin */
  GPIO_InitStruct.Pin = LD2_Pin|New_B1_Pin;
  GPIO_InitStruct.Mode = GPIO_MODE_OUTPUT_PP;
  GPIO_InitStruct.Pull = GPIO_NOPULL;
  GPIO_InitStruct.Speed = GPIO_SPEED_FREQ_LOW;
  HAL_GPIO_Init(GPIOA, &GPIO_InitStruct);

  /*Configure GPIO pins : Control_BTN_Pin Front_Left_BTN_Pin Front_Right_BTN_Pin */
  GPIO_InitStruct.Pin = Control_BTN_Pin|Front_Left_BTN_Pin|Front_Right_BTN_Pin;
  GPIO_InitStruct.Mode = GPIO_MODE_INPUT;
  GPIO_InitStruct.Pull = GPIO_PULLUP;
  HAL_GPIO_Init(GPIOC, &GPIO_InitStruct);

  /*Configure GPIO pins : LS2_CH6_Pin LS1_CH5_Pin LS1_CH2_Pin LS1_CH4_Pin
                           LS1_CH3_Pin */
  GPIO_InitStruct.Pin = LS2_CH6_Pin|LS1_CH5_Pin|LS1_CH2_Pin|LS1_CH4_Pin
                          |LS1_CH3_Pin;
  GPIO_InitStruct.Mode = GPIO_MODE_INPUT;
  GPIO_InitStruct.Pull = GPIO_NOPULL;
  HAL_GPIO_Init(GPIOB, &GPIO_InitStruct);

  /*Configure GPIO pin : PB2 */
  GPIO_InitStruct.Pin = GPIO_PIN_2;
  GPIO_InitStruct.Mode = GPIO_MODE_INPUT;
  GPIO_InitStruct.Pull = GPIO_PULLUP;
  HAL_GPIO_Init(GPIOB, &GPIO_InitStruct);

  /*Configure GPIO pins : Control_BTNC6_Pin DIR_1_LEFT_Pin DIR_2_RIGHT_Pin Front_Left_BTNC11_Pin */
  GPIO_InitStruct.Pin = Control_BTNC6_Pin|DIR_1_LEFT_Pin|DIR_2_RIGHT_Pin|Front_Left_BTNC11_Pin;
  GPIO_InitStruct.Mode = GPIO_MODE_OUTPUT_PP;
  GPIO_InitStruct.Pull = GPIO_NOPULL;
  GPIO_InitStruct.Speed = GPIO_SPEED_FREQ_LOW;
  HAL_GPIO_Init(GPIOC, &GPIO_InitStruct);

  /*Configure GPIO pins : LS_1_CH6_Pin LS1_CH8_Pin LS1_CH1_Pin LS2_CH1_Pin
                           LS2_CH2_Pin LS2_CH3_Pin */
  GPIO_InitStruct.Pin = LS_1_CH6_Pin|LS1_CH8_Pin|LS1_CH1_Pin|LS2_CH1_Pin
                          |LS2_CH2_Pin|LS2_CH3_Pin;
  GPIO_InitStruct.Mode = GPIO_MODE_INPUT;
  GPIO_InitStruct.Pull = GPIO_NOPULL;
  HAL_GPIO_Init(GPIOA, &GPIO_InitStruct);

  /*Configure GPIO pin : New_B1A12_Pin */
  GPIO_InitStruct.Pin = New_B1A12_Pin;
  GPIO_InitStruct.Mode = GPIO_MODE_INPUT;
  GPIO_InitStruct.Pull = GPIO_PULLUP;
  HAL_GPIO_Init(New_B1A12_GPIO_Port, &GPIO_InitStruct);

  /*Configure GPIO pin : Front_Right_BTND2_Pin */
  GPIO_InitStruct.Pin = Front_Right_BTND2_Pin;
  GPIO_InitStruct.Mode = GPIO_MODE_OUTPUT_PP;
  GPIO_InitStruct.Pull = GPIO_NOPULL;
  GPIO_InitStruct.Speed = GPIO_SPEED_FREQ_LOW;
  HAL_GPIO_Init(Front_Right_BTND2_GPIO_Port, &GPIO_InitStruct);

  /* EXTI interrupt init*/
  HAL_NVIC_SetPriority(EXTI15_10_IRQn, 0, 0);
  HAL_NVIC_EnableIRQ(EXTI15_10_IRQn);

}

/* USER CODE BEGIN 4 */

//---------------Robot Private Functions-----------------------------------------------

/*void Drive_All_Motors(uint16_t speed){
//---Example for using Timer 13---------------------------
    // oldDutyCycle = __HAL_TIM_GET_AUTORELOAD(&htim13);         // Gets the Period set for PWm
    // oldDutyCycle = __HAL_TIM_GET_COMPARE(&htim13, TIM_CHANNEL_1); // Get reading for Timer 13
    // oldDutyCycle = TIM13 -> CCR1;                             // Set Capture Compare register directly

    __HAL_TIM_SET_COMPARE(motorTimer, TIM_CHANNEL_1, speed); // Set new Pulse to Channel
    __HAL_TIM_SET_COMPARE(motorTimer, TIM_CHANNEL_2, speed); // Set new Pulse to Channel
    __HAL_TIM_SET_COMPARE(motorTimer, TIM_CHANNEL_3, speed); // Set new Pulse to Channel
    __HAL_TIM_SET_COMPARE(motorTimer, TIM_CHANNEL_4, speed); // Set new Pulse to Channel
}*/

/* USER CODE END 4 */

void Error_Handler(void)
{
  while(1)
  {
  }
}

/************************ (C) COPYRIGHT STMicroelectronics *****END OF FILE****/
